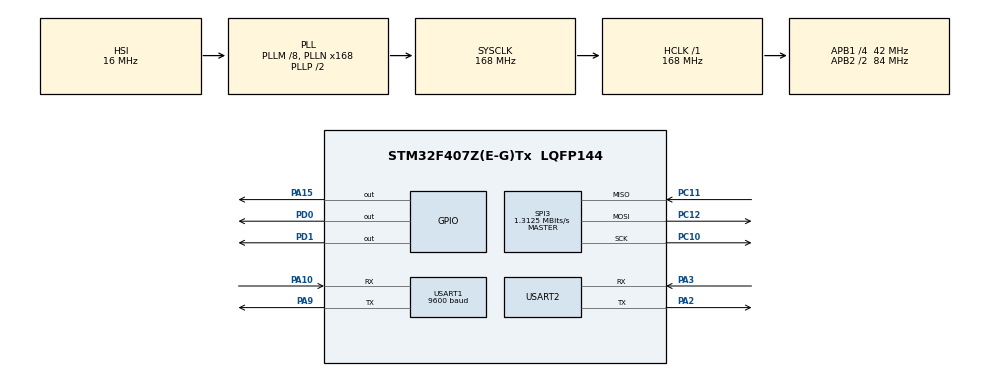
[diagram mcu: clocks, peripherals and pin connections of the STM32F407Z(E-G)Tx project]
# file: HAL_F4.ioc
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Mcu.Family=STM32F4
Mcu.Name=STM32F407Z(E-G)Tx
Mcu.Package=LQFP144
NVIC.PriorityGroup=NVIC_PRIORITYGROUP_4
NVIC.TIM2_IRQn=true\:0\:0\:false\:false\:true\:false\:true
NVIC.TimeBase=TIM2_IRQn
NVIC.TimeBaseIP=TIM2
PA0-WKUP.Mode=SYS_WakeUp0
PA0-WKUP.Signal=SYS_WKUP
PA10.Mode=Asynchronous
PA10.Signal=USART1_RX
PA15.GPIO_PuPd=GPIO_PULLDOWN
PA15.Signal=GPIO_Output
PA2.Mode=Asynchronous
PA2.Signal=USART2_TX
PA3.Mode=Asynchronous
PA3.Signal=USART2_RX
PA9.Mode=Asynchronous
PA9.Signal=USART1_TX
PC10.Mode=Full_Duplex_Master
PC10.Signal=SPI3_SCK
PC11.Mode=Full_Duplex_Master
PC11.Signal=SPI3_MISO
PC12.Mode=Full_Duplex_Master
PC12.Signal=SPI3_MOSI
PD0.GPIO_PuPd=GPIO_NOPULL
PD0.GPIO_Speed=GPIO_SPEED_FREQ_LOW
PD0.Signal=GPIO_Output
PD1.GPIO_PuPd=GPIO_NOPULL
PD1.GPIO_Speed=GPIO_SPEED_FREQ_LOW
PD1.Signal=GPIO_Output
PH0-OSC_IN.Mode=HSE-External-Oscillator
PH0-OSC_IN.Signal=RCC_OSC_IN
PH1-OSC_OUT.Mode=HSE-External-Oscillator
PH1-OSC_OUT.Signal=RCC_OSC_OUT
ProjectManager.HeapSize=0x200
ProjectManager.StackSize=0x400
ProjectManager.TargetToolchain=MDK-ARM V5.27
RCC.48MHZClocksFreq_Value=84000000
RCC.AHBFreq_Value=168000000
RCC.APB1CLKDivider=RCC_HCLK_DIV4
RCC.APB1Freq_Value=42000000
RCC.APB1TimFreq_Value=84000000
RCC.APB2CLKDivider=RCC_HCLK_DIV2
RCC.APB2Freq_Value=84000000
RCC.APB2TimFreq_Value=168000000
RCC.CortexFreq_Value=168000000
RCC.HCLKFreq_Value=168000000
RCC.HSE_VALUE=25000000
RCC.HSI_VALUE=16000000
RCC.LSE_VALUE=32768
RCC.PLLM=8
RCC.PLLN=168
RCC.SYSCLKFreq_VALUE=168000000
RCC.SYSCLKSource=RCC_SYSCLKSOURCE_PLLCLK
RCC.VCOOutputFreq_Value=336000000
SPI3.BaudRatePrescaler=SPI_BAUDRATEPRESCALER_32
SPI3.CLKPhase=SPI_PHASE_2EDGE
SPI3.CLKPolarity=SPI_POLARITY_HIGH
SPI3.CalculateBaudRate=1.3125 MBits/s
SPI3.Direction=SPI_DIRECTION_2LINES
SPI3.Mode=SPI_MODE_MASTER
SPI3.VirtualType=VM_MASTER
TIM14.Period=1
TIM14.Prescaler=83
USART1.BaudRate=9600
USART1.VirtualMode=VM_ASYNC
USART2.VirtualMode=VM_ASYNC
VP_SYS_VS_tim2.Mode=TIM2
VP_TIM14_VS_ClockSourceINT.Mode=Enable_Timer
board=custom

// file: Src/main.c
/* USER CODE BEGIN Header */
/**
  ******************************************************************************
  * @file           : main.c
  * @brief          : Main program body
  ******************************************************************************
  * @attention
  *
  * <h2><center>&copy; Copyright (c) 2019 STMicroelectronics.
  * All rights reserved.</center></h2>
  *
  * This software component is licensed by ST under BSD 3-Clause license,
  * the "License"; You may not use this file except in compliance with the
  * License. You may obtain a copy of the License at:
  *                        opensource.org/licenses/BSD-3-Clause
  *
  ******************************************************************************
  */
/* USER CODE END Header */

#include "main.h"

/* USER CODE BEGIN Includes */
#include "stdio.h"
#include "stdlib.h"
#include "decode.h"
#include "stepper.h"
#include "pid.h"
#include "opticalFlow.h"
/* USER CODE END Includes */

SPI_HandleTypeDef hspi3;

TIM_HandleTypeDef htim14;

UART_HandleTypeDef huart1;
UART_HandleTypeDef huart2;

void SystemClock_Config(void);
static void MX_GPIO_Init(void);
static void MX_USART1_UART_Init(void);
static void MX_USART2_UART_Init(void);
static void MX_TIM14_Init(void);
static void MX_SPI3_Init(void);

/* USER CODE BEGIN 0 */
int fputc(int c, FILE *stream)
{
    USART1->DR = c;//将c赋给串口1的DR寄存器，即重定向到串口，也可以是其他的接�?
    while(!(USART1->SR & (1 << 7)));//等待数据发�?�完�?
    return c;
}

int fgetc(FILE *stream)
{
    while(!(USART1->SR & (1 << 5)));//等待数据接收完成
    return USART1->DR;
}

/* USER CODE END 0 */

int main(void)
{

  /* MCU Configuration--------------------------------------------------------*/

  /* Reset of all peripherals, Initializes the Flash interface and the Systick. */
  HAL_Init();

  /* USER CODE BEGIN Init */
	uint8_t Receive_Buffer[15];
  /* USER CODE END Init */

  /* Configure the system clock */
  SystemClock_Config();

  /* Initialize all configured peripherals */
  MX_GPIO_Init();
  MX_USART1_UART_Init();
  MX_USART2_UART_Init();
  MX_TIM14_Init();
  MX_SPI3_Init();

  /* Infinite loop */
  /* USER CODE BEGIN WHILE */
  while(1)
  {
	  printf("state = %x\r\n",read_register(Motion));
	  printf("deltaX = %x\r\n",read_register(DX));
	  printf("deltaY = %x\r\n",read_register(DY));
	  HAL_Delay(1000);
    /* USER CODE END WHILE */

  }
}

void SystemClock_Config(void)
{
  RCC_OscInitTypeDef RCC_OscInitStruct = {0};
  RCC_ClkInitTypeDef RCC_ClkInitStruct = {0};

  /** Configure the main internal regulator output voltage
  */
  __HAL_RCC_PWR_CLK_ENABLE();
  __HAL_PWR_VOLTAGESCALING_CONFIG(PWR_REGULATOR_VOLTAGE_SCALE1);
  /** Initializes the CPU, AHB and APB busses clocks
  */
  RCC_OscInitStruct.OscillatorType = RCC_OSCILLATORTYPE_HSI;
  RCC_OscInitStruct.HSIState = RCC_HSI_ON;
  RCC_OscInitStruct.HSICalibrationValue = RCC_HSICALIBRATION_DEFAULT;
  RCC_OscInitStruct.PLL.PLLState = RCC_PLL_ON;
  RCC_OscInitStruct.PLL.PLLSource = RCC_PLLSOURCE_HSI;
  RCC_OscInitStruct.PLL.PLLM = 8;
  RCC_OscInitStruct.PLL.PLLN = 168;
  RCC_OscInitStruct.PLL.PLLP = RCC_PLLP_DIV2;
  RCC_OscInitStruct.PLL.PLLQ = 4;
  if (HAL_RCC_OscConfig(&RCC_OscInitStruct) != HAL_OK)
  {
    Error_Handler();
  }
  /** Initializes the CPU, AHB and APB busses clocks
  */
  RCC_ClkInitStruct.ClockType = RCC_CLOCKTYPE_HCLK|RCC_CLOCKTYPE_SYSCLK
                              |RCC_CLOCKTYPE_PCLK1|RCC_CLOCKTYPE_PCLK2;
  RCC_ClkInitStruct.SYSCLKSource = RCC_SYSCLKSOURCE_PLLCLK;
  RCC_ClkInitStruct.AHBCLKDivider = RCC_SYSCLK_DIV1;
  RCC_ClkInitStruct.APB1CLKDivider = RCC_HCLK_DIV4;
  RCC_ClkInitStruct.APB2CLKDivider = RCC_HCLK_DIV2;

  if (HAL_RCC_ClockConfig(&RCC_ClkInitStruct, FLASH_LATENCY_5) != HAL_OK)
  {
    Error_Handler();
  }
}

static void MX_SPI3_Init(void)
{

  /* SPI3 parameter configuration*/
  hspi3.Instance = SPI3;
  hspi3.Init.Mode = SPI_MODE_MASTER;
  hspi3.Init.Direction = SPI_DIRECTION_2LINES;
  hspi3.Init.DataSize = SPI_DATASIZE_8BIT;
  hspi3.Init.CLKPolarity = SPI_POLARITY_HIGH;
  hspi3.Init.CLKPhase = SPI_PHASE_2EDGE;
  hspi3.Init.NSS = SPI_NSS_SOFT;
  hspi3.Init.BaudRatePrescaler = SPI_BAUDRATEPRESCALER_32;
  hspi3.Init.FirstBit = SPI_FIRSTBIT_MSB;
  hspi3.Init.TIMode = SPI_TIMODE_DISABLE;
  hspi3.Init.CRCCalculation = SPI_CRCCALCULATION_DISABLE;
  hspi3.Init.CRCPolynomial = 10;
  if (HAL_SPI_Init(&hspi3) != HAL_OK)
  {
    Error_Handler();
  }

}

static void MX_TIM14_Init(void)
{

  htim14.Instance = TIM14;
  htim14.Init.Prescaler = 83;
  htim14.Init.CounterMode = TIM_COUNTERMODE_UP;
  htim14.Init.Period = 1;
  htim14.Init.ClockDivision = TIM_CLOCKDIVISION_DIV1;
  htim14.Init.AutoReloadPreload = TIM_AUTORELOAD_PRELOAD_DISABLE;
  if (HAL_TIM_Base_Init(&htim14) != HAL_OK)
  {
    Error_Handler();
  }

}

static void MX_USART1_UART_Init(void)
{

  huart1.Instance = USART1;
  huart1.Init.BaudRate = 9600;
  huart1.Init.WordLength = UART_WORDLENGTH_8B;
  huart1.Init.StopBits = UART_STOPBITS_1;
  huart1.Init.Parity = UART_PARITY_NONE;
  huart1.Init.Mode = UART_MODE_TX_RX;
  huart1.Init.HwFlowCtl = UART_HWCONTROL_NONE;
  huart1.Init.OverSampling = UART_OVERSAMPLING_16;
  if (HAL_UART_Init(&huart1) != HAL_OK)
  {
    Error_Handler();
  }

}

static void MX_USART2_UART_Init(void)
{

  huart2.Instance = USART2;
  huart2.Init.BaudRate = 115200;
  huart2.Init.WordLength = UART_WORDLENGTH_8B;
  huart2.Init.StopBits = UART_STOPBITS_1;
  huart2.Init.Parity = UART_PARITY_NONE;
  huart2.Init.Mode = UART_MODE_TX_RX;
  huart2.Init.HwFlowCtl = UART_HWCONTROL_NONE;
  huart2.Init.OverSampling = UART_OVERSAMPLING_16;
  if (HAL_UART_Init(&huart2) != HAL_OK)
  {
    Error_Handler();
  }

}

static void MX_GPIO_Init(void)
{
  GPIO_InitTypeDef GPIO_InitStruct = {0};

  /* GPIO Ports Clock Enable */
  __HAL_RCC_GPIOH_CLK_ENABLE();
  __HAL_RCC_GPIOA_CLK_ENABLE();
  __HAL_RCC_GPIOC_CLK_ENABLE();
  __HAL_RCC_GPIOD_CLK_ENABLE();

  /*Configure GPIO pin Output Level */
  HAL_GPIO_WritePin(GPIOA, GPIO_PIN_15, GPIO_PIN_RESET);

  /*Configure GPIO pin Output Level */
  HAL_GPIO_WritePin(GPIOD, GPIO_PIN_0|GPIO_PIN_1, GPIO_PIN_RESET);

  /*Configure GPIO pin : PA15 */
  GPIO_InitStruct.Pin = GPIO_PIN_15;
  GPIO_InitStruct.Mode = GPIO_MODE_OUTPUT_PP;
  GPIO_InitStruct.Pull = GPIO_PULLDOWN;
  GPIO_InitStruct.Speed = GPIO_SPEED_FREQ_LOW;
  HAL_GPIO_Init(GPIOA, &GPIO_InitStruct);

  /*Configure GPIO pins : PD0 PD1 */
  GPIO_InitStruct.Pin = GPIO_PIN_0|GPIO_PIN_1;
  GPIO_InitStruct.Mode = GPIO_MODE_OUTPUT_PP;
  GPIO_InitStruct.Pull = GPIO_NOPULL;
  GPIO_InitStruct.Speed = GPIO_SPEED_FREQ_LOW;
  HAL_GPIO_Init(GPIOD, &GPIO_InitStruct);

}

void HAL_TIM_PeriodElapsedCallback(TIM_HandleTypeDef *htim)
{
  if (htim->Instance == TIM2) {
    HAL_IncTick();
  }
}

void Error_Handler(void)
{
}

/************************ (C) COPYRIGHT STMicroelectronics *****END OF FILE****/
